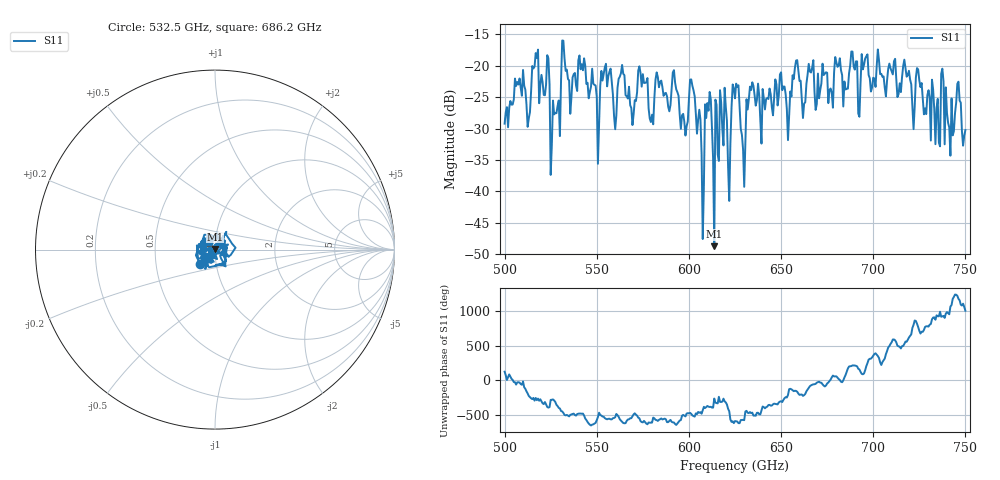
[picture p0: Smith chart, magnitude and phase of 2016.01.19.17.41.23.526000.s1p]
!Created with skrf (http://scikit-rf.org).
# GHz S RI R 50.0
!freq ReS11 ImS11
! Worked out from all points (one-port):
!   401 points, 500 GHz to 750 GHz, reference 50 ohm
!   lowest |S11| = -48.7 dB at 613.8 GHz (marker M1), VSWR 1.01, Z = 49.9 + j0.362 ohm
!   |S11| at or under -10 dB: start of sweep to end of sweep
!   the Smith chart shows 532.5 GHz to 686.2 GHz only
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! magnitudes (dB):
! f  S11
! 500 GHz  -29.2
! 506.9 GHz  -22.6
! 513.1 GHz  -28.4
! 516.9 GHz  -18.0
! 526.2 GHz  -25.5
! 531.2 GHz  -16.0
! 550.6 GHz  -35.6
! 553.8 GHz  -21.3
! 562.5 GHz  -21.7
! 579.4 GHz  -29.0
! 583.1 GHz  -21.8
! 593.8 GHz  -24.2
! 598.1 GHz  -31.1
! 601.9 GHz  -23.2
! 606.9 GHz  -34.0
! 610.6 GHz  -27.1
! 613.8 GHz  -48.7
! 618.1 GHz  -30.0
! 621.9 GHz  -41.5
! 625 GHz  -25.2
! 629.4 GHz  -33.3
! 633.8 GHz  -23.9
! 656.2 GHz  -21.5
! 687.5 GHz  -19.9
! 718.8 GHz  -21.4
! 735 GHz  -25.3
! 746.2 GHz  -22.5
! 750 GHz  -30.2
